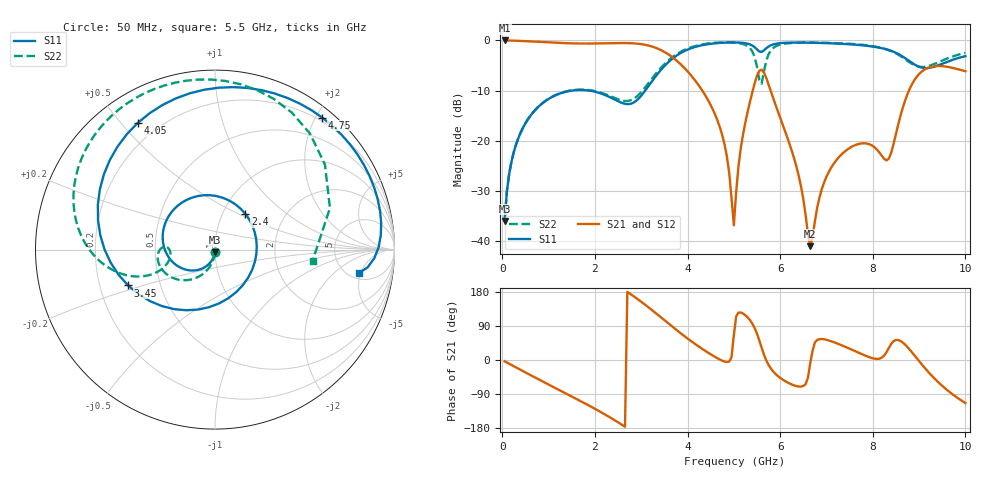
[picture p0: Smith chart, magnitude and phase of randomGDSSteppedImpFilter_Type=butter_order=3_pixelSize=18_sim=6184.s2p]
! freq	dB(S11)	phase(S11)	dB(S12)	phase(S12)
!  dB(S21)	phase(S21)	dB(S22)	phase(S22)
!S-par simulation data
#  GHz  S  DB  R 50
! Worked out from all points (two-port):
!   200 points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, 50 MHz to 10 GHz, reference 50 ohm
!   highest |S21| = -0.01 dB at 50 MHz (marker M1); lowest = -41.0 dB at 6.65 GHz (marker M2)
!   |S21| within 3 dB of the highest: start of sweep to 3.623 GHz
!   lowest |S11| = -36.0 dB at 50 MHz (marker M3), VSWR 1.03, Z = 49.9 - j1.58 ohm
!   |S11| at or under -10 dB: start of sweep to 1.5 GHz; 1.875 GHz to 3.086 GHz (1.211 GHz wide, 48.8 % of centre)
!   |S22| runs from -36.0 to -0.4 dB; largest |S21 - S12| = 0
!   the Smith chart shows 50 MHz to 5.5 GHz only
!   S11 on the Smith chart (normalised r, x): 50 MHz: 1.00, -0.03; 2.4 GHz: 1.28, +0.54; 3.45 GHz: 0.32, -0.18; 4.05 GHz: 0.12, +0.55; 4.75 GHz: 0.15, +2.09; 5.5 GHz: 6.09, -4.65
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0.05  -35.97 -93.3  -0.01 -3.4  -0.01 -3.4  -35.96 -91.8
0.5  -16.53 -130.4  -0.14 -32.8  -0.14 -32.8  -16.50 -116.1
1.75  -9.89 125.6  -0.62 -112.2  -0.62 -112.2  -9.81 -170.7
2.4  -11.66 49.6  -0.54 -156.9  -0.54 -156.9  -11.37 177.1
3.4  -6.15 -149.7  -1.81 115.2  -1.81 115.2  -5.72 -164.1
3.45  -5.61 -157.6  -2.03 110.2  -2.03 110.2  -5.22 -166.2
4.05  -1.65 121.4  -6.68 52.2  -6.68 52.2  -1.45 158.7
4.75  -0.47 50.9  -18.91 -1.8  -18.91 -1.8  -0.40 114.1
5  -0.40 29.6  -36.85 65.6  -36.85 65.6  -0.43 95.6
5.05  -0.41 25.5  -30.27 115.0  -30.27 115.0  -0.47 91.3
5.3  -0.66 5.0  -14.16 112.3  -14.16 112.3  -1.16 60.7
5.5  -1.80 -9.2  -7.04 69.5  -7.04 69.5  -5.24 -6.5
5.6  -2.29 -8.4  -5.84 32.3  -5.84 32.3  -8.62 -112.3
5.75  -1.21 -12.5  -8.79 -13.0  -8.79 -13.0  -2.77 148.7
6.05  -0.51 -33.2  -16.66 -51.4  -16.66 -51.4  -0.73 97.8
6.65  -0.46 -69.1  -41.01 -8.2  -41.01 -8.2  -0.43 55.0
6.7  -0.46 -71.9  -39.13 24.5  -39.13 24.5  -0.43 52.0
7.65  -0.87 -129.0  -20.77 21.7  -20.77 21.7  -0.77 -7.8
8.35  -1.93 167.4  -23.50 32.4  -23.50 32.4  -1.96 -77.6
8.9  -4.79 75.8  -7.90 12.2  -7.90 12.2  -4.93 176.6
9.35  -5.17 -3.9  -5.12 -51.0  -5.12 -51.0  -4.61 93.6
10  -3.14 -74.0  -6.13 -113.6  -6.13 -113.6  -2.48 29.5
